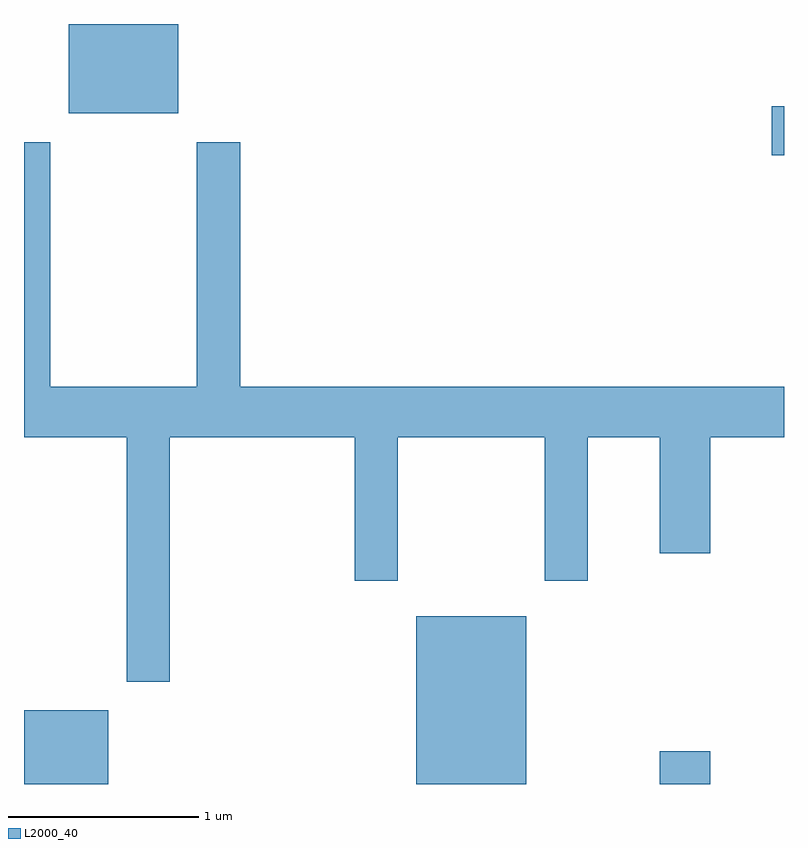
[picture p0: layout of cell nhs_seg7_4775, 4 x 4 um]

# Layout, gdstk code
import gdstk
lib = gdstk.Library(unit=1e-6, precision=1e-09)
def R(c, l, rs):  # rectangles x0, y0, x1, y1
    for r in rs: c.add(gdstk.rectangle(r[:2], r[2:], *l))
def P(c, l, *ps):  # polygons
    for p in ps: c.add(gdstk.Polygon(p, *l))
L2000_40 = (2000, 40)

nhs_seg7_4775 = lib.new_cell('nhs_seg7_4775')
R(nhs_seg7_4775, L2000_40, [(331.611,1730.252,332.054,1730.639), (333.676,1730.252,334.254,1731.134), (334.956,1730.252,335.224,1730.424), (335.546,1733.561,335.611,1733.819), (331.846,1733.781,332.424,1734.252)])
P(nhs_seg7_4775, L2000_40, [(332.379,1732.076),(333.351,1732.076),(333.351,1731.321),(333.579,1731.321),(333.579,1732.076),(334.351,1732.076),(334.351,1731.321),(334.579,1731.321),(334.579,1732.076),(334.956,1732.076),(334.956,1731.466),(335.224,1731.466),(335.224,1732.076),(335.611,1732.076),(335.611,1732.344),(332.749,1732.344),(332.749,1733.629),(332.521,1733.629),(332.521,1732.344),(331.749,1732.344),(331.749,1733.629),(331.611,1733.629),(331.611,1732.076),(332.151,1732.076),(332.151,1730.791),(332.379,1730.791)])

lib.write_gds('nhs_seg7_4775.gds')
